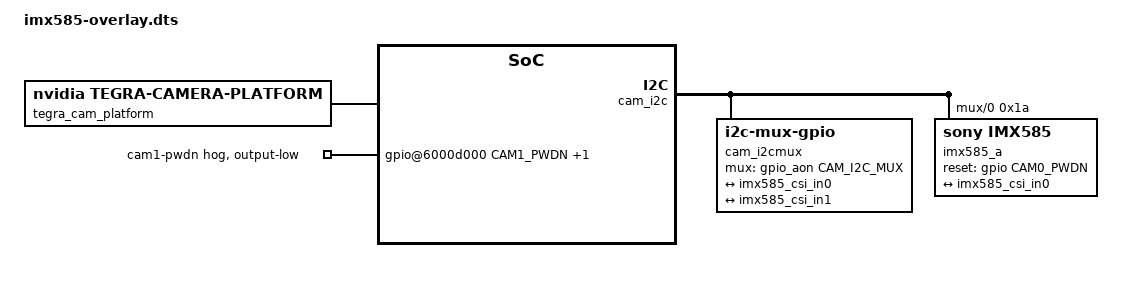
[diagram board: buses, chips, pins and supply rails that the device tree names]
// SPDX-License-Identifier: GPL-2.0-only

/dts-v1/;
/plugin/;

#define CAM0_PWDN	TEGRA234_MAIN_GPIO(H, 6)
#define CAM1_PWDN	TEGRA234_MAIN_GPIO(AC, 0)
#define CAM_I2C_MUX 	TEGRA234_AON_GPIO(CC, 3)

#include <dt-bindings/tegra234-p3767-0000-common.h>

/ {
	overlay-name = "Camera IMX585 Dual";
	jetson-header-name = "Jetson 24pin CSI Connector";
	compatible = JETSON_COMPATIBLE_P3768; /* [1] Orin Nano carrier */

	fragment@0 {
		target-path = "/";
		__overlay__ {
			tegra-capture-vi  {
				num-channels = <2>;
				ports {
					#address-cells = <1>;
					#size-cells = <0>;
					port@0 {
						reg = <0>;
						imx585_vi_in0: endpoint {
							port-index = <1>;
							bus-width = <4>; /* 4 lanes default */
							data-lanes = <1 2 3 4>; /* optional: specify lane mapping */
							clock-lanes = <0>;  /* optional: specify clock lane */
							remote-endpoint = <&imx585_csi_out0>;
						};
					};
					port@1 {
						reg = <1>;
						imx585_vi_in1: endpoint {
							port-index = <2>;
							bus-width = <4>; /* 4 lanes default */
							data-lanes = <1 2 3 4>; /* optional: specify lane mapping */
							clock-lanes = <0>;  /* optional: specify clock lane */
							remote-endpoint = <&imx585_csi_out1>;
						};
					};
				};
			};

			tegra_cam_platform: tegra-camera-platform {
				compatible = "nvidia, tegra-camera-platform";
				num_csi_lanes = <8>;          /* two sensors × 4 lanes */
				max_lane_speed = <2500000>;   /* 2.5 Gbps/lane default; SI dependent */
				min_bits_per_pixel = <10>;
				vi_peak_byte_per_pixel = <2>;
				vi_bw_margin_pct = <25>;
				max_pixel_rate = <600000000>; /* adjust to real mode table */
				isp_peak_byte_per_pixel = <5>;
				isp_bw_margin_pct = <25>;
				modules {
					module0 {
						badge = "jakku_front_IMX585";
						position = "front";
						orientation = "1"; /* [12] 1 means upright; confirm physical rotation; driver uses readout_orientation too */
						drivernode0 {
							pcl_id = "v4l2_sensor";
							sysfs-device-tree = "/sys/firmware/devicetree/base/bus@0/cam_i2cmux/i2c@0/imx585_a@1a"; /* [13] Ensure this path matches the overlay path below */
						};
					};
					module1 {
						badge = "jakku_rear_IMX585";
						position = "rear";
						orientation = "1";
						drivernode0 {
							pcl_id = "v4l2_sensor";
							sysfs-device-tree = "/sys/firmware/devicetree/base/bus@0/cam_i2cmux/i2c@1/imx585_c@1a";
						};
					};
				};
			};
			bus@0 {
				host1x@13e00000 {
					nvcsi@15a00000 {
						num-channels = <2>;
						#address-cells = <1>;
						#size-cells = <0>;
						channel@0 {
							reg = <0>;
							ports {
								#address-cells = <1>;
								#size-cells = <0>;
								port@0 {
									reg = <0>;
									imx585_csi_in0: endpoint@0 {
										port-index = <1>;
										bus-width = <4>; /* 4 lanes */
										remote-endpoint = <&imx585_out0>;
									};
								};
								port@1 {
									reg = <1>;
									imx585_csi_out0: endpoint@1 {
										remote-endpoint = <&imx585_vi_in0>;
									};
								};
							};
						};
						channel@1 {
							reg = <1>;
							ports {
								#address-cells = <1>;
								#size-cells = <0>;
								port@0 {
									reg = <0>;
									imx585_csi_in1: endpoint@2 {
										port-index = <2>;
										bus-width = <4>; /* 4 lanes */
										remote-endpoint = <&imx585_out1>;
									};
								};
								port@1 {
									reg = <1>;
									imx585_csi_out1: endpoint@3 {
										remote-endpoint = <&imx585_vi_in1>;
									};
								};
							};
						};
					};
				};
				cam_i2cmux {
					status = "okay";
					compatible = "i2c-mux-gpio";
					#address-cells = <1>;
					#size-cells = <0>;
					mux-gpios = <&gpio_aon CAM_I2C_MUX GPIO_ACTIVE_HIGH>; /* [15] AON mux select */
					i2c-parent = <&cam_i2c>; /* [16] Ensure label exists in base DT */

					i2c@0 {
						status = "okay";
						reg = <0>;
						#address-cells = <1>;
						#size-cells = <0>;

						/* -------- cam0 (enabled by default) -------- */
						imx585_a: imx585_a@1a {
							status = "okay"; /* default on */
							reset-gpios = <&gpio CAM0_PWDN GPIO_ACTIVE_HIGH>;
							compatible = "sony,imx585";
							reg = <0x1a>;
							devnode = "video0";
							/* Active area for IMX585 */
							physical_w = "11.13";
							physical_h = "6.26";
							sensor_model = "imx585";
							use_sensor_mode_id = "true";

							imx585_a_mode0: mode0 {
								mclk_khz = "24000";
								num_lanes = "4";  /* default 4 lanes */
								tegra_sinterface = "serial_b";
								phy_mode = "DPHY";
								discontinuous_clk = "no";
								dpcm_enable = "false";
								cil_settletime = "0";
								lane_polarity = "6";  /* board‑specific; keep */
								active_w = "3856";
								active_h = "2180";
								mode_type = "bayer";
								pixel_phase = "rggb";
								csi_pixel_bit_depth = "10";
								readout_orientation = "90";
								line_length = "11200";      /* placeholder → match reg table */
								mclk_multiplier = "80";
								pix_clk_hz = "600000000";   /* example for 4‑lane */
								gain_factor = "16";
								framerate_factor = "1000000";
								exposure_factor = "1000000";
								min_gain_val = "16";
								max_gain_val = "506";  /* ~31.6x analog */
								step_gain_val = "1";
								default_gain = "16";
								min_hdr_ratio = "1";
								max_hdr_ratio = "1";
								min_framerate = "1000000";
								max_framerate = "60000000";
								step_framerate = "1";
								default_framerate = "30000000";
								min_exp_time = "10";
								max_exp_time = "33333";
								step_exp_time = "1";
								default_exp_time = "10000";
								embedded_metadata_height = "2";
							};

							ports {
								#address-cells = <1>;
								#size-cells = <0>;
								port@0 {
									reg = <0>;
									imx585_out0: endpoint {
										status = "okay";
										port-index = <1>;
										bus-width = <4>; /* 4 lanes */
										remote-endpoint = <&imx585_csi_in0>;
									};
								};
							};
						};
					};

					i2c@1 {
						status = "okay";
						reg = <1>;
						#address-cells = <1>;
						#size-cells = <0>;

						/* -------- cam1 (disabled by default) -------- */
						imx585_c: imx585_c@1a {
							status = "disabled"; /* default off */
							reset-gpios = <&gpio CAM1_PWDN GPIO_ACTIVE_HIGH>;
							compatible = "sony,imx585";
							reg = <0x1a>;
							devnode = "video1";
							physical_w = "11.13";
							physical_h = "6.26";
							sensor_model = "imx585";
							use_sensor_mode_id = "true";

							imx585_c_mode0: mode0 {
								mclk_khz = "24000";
								num_lanes = "4";  /* default 4 lanes */
								tegra_sinterface = "serial_c";
								phy_mode = "DPHY";
								discontinuous_clk = "no";
								dpcm_enable = "false";
								cil_settletime = "0";
								lane_polarity = "0";
								active_w = "3856";
								active_h = "2180";
								mode_type = "bayer";
								pixel_phase = "rggb";
								csi_pixel_bit_depth = "10";
								readout_orientation = "90";
								line_length = "11200";
								mclk_multiplier = "80";
								pix_clk_hz = "600000000";
								gain_factor = "16";
								framerate_factor = "1000000";
								exposure_factor = "1000000";
								min_gain_val = "16";
								max_gain_val = "506";
								step_gain_val = "1";
								default_gain = "16";
								min_hdr_ratio = "1";
								max_hdr_ratio = "1";
								min_framerate = "1000000";
								max_framerate = "60000000";
								step_framerate = "1";
								default_framerate = "30000000";
								min_exp_time = "10";
								max_exp_time = "33333";
								step_exp_time = "1";
								default_exp_time = "10000";
								embedded_metadata_height = "2";
							};

							ports {
								#address-cells = <1>;
								#size-cells = <0>;
								port@0 {
									reg = <0>;
									imx585_out1: endpoint {
										status = "okay";
										port-index = <2>;
										bus-width = <4>; /* 4 lanes */
										remote-endpoint = <&imx585_csi_in1>;
									};
								};
							};
						};
					};
				};

				/* Hold sensors in PWDN at boot */
				gpio@6000d000 {
					camera-control-output-low {
						gpio-hog;
						output-low;
						gpios = <CAM1_PWDN 0  CAM0_PWDN 0>;
						label = "cam1-pwdn", "cam0-pwdn";
					};
				};
			};
		};
	};

	/* ----------------------------------------------------------- */
	/* Boot‑time overrides                                         */
	/* ----------------------------------------------------------- */
	__overrides__ {
		/* Enable/disable cam0 (default: enabled) */
		cam0 = <&imx585_a>, "status";
		/* Values: "okay" to enable, "disabled" to disable */

		/* Enable/disable cam1 (default: disabled) */
		cam1 = <&imx585_c>, "status";
		/* Values: "okay" to enable, "disabled" to disable */

		/* One‑shot debug preset: force 2 lanes + 1.5 Gbps/lane and adjust platform lane total */
		debug_safe =
				<&imx585_a_mode0>,        "num_lanes:2",
				<&imx585_c_mode0>,        "num_lanes:2",
				<&imx585_vi_in0>,         "bus-width:2",
				<&imx585_vi_in1>,         "bus-width:2",
				<&imx585_csi_in0>,        "bus-width:2",
				<&imx585_csi_in1>,        "bus-width:2",
				<&imx585_out0>,           "bus-width:2",
				<&imx585_out1>,           "bus-width:2",
				<&tegra_cam_platform>,    "num_csi_lanes:4",
				<&tegra_cam_platform>,    "max_lane_speed:1500000";
	};
};
